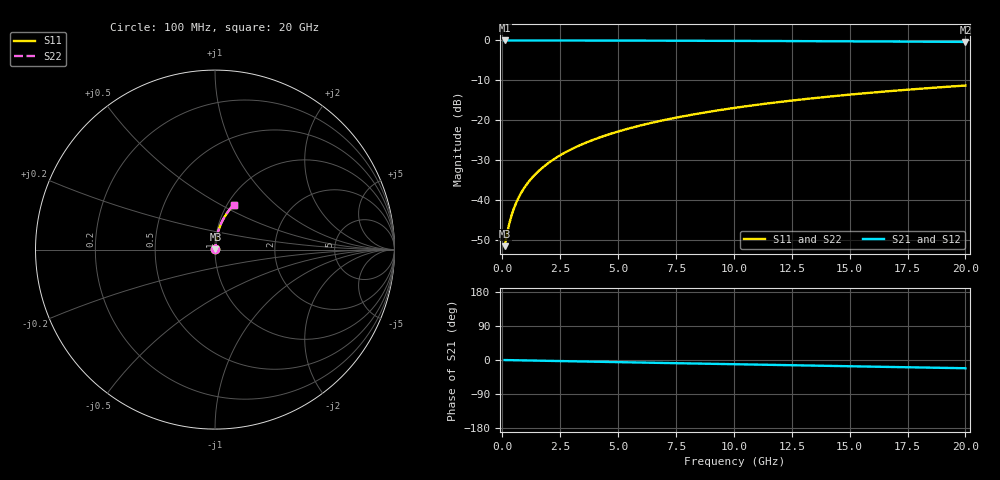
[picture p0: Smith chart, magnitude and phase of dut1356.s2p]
! Touchstone file exported from HFSS 2026.1.0
!  File:  C:/ffzhzh/LocalFiles/Ansys_Project_Files/temp_train_BSMRDL_1356_1783179104_43440.aedt
!  Generated:  11:33:00 PM Jul  4, 2026
!  Design:  BSMRDL
!  Project:  temp_train_BSMRDL_1356_1783179104_43440
! Variables:
!  h_bsmrdl = 2.32um
!  h_ox = 20um
!  h_rdl = 5um
!  h_sub = 80um
!  h_tmrdl = 5um
!  h_tsv = 80um
!  h_via = 3um
!  l_bsmrdl = 218.39um
!  l_sub = 618.39um
!  l_tmrdl = 200um
!  m_sub = 200um
!  pitch = 59.43um
!  r_tsv = 6um
!  s_tmrdl = 10um
!  w_bsmrdl = 17.79um
!  w_sub = 500um
!  w_tmrdl = 12um
!  x_tsv_center1 = 206um
!  x_tsv_center2 = 442.18um
!  x_tsv_center3 = 654.18um
!  x_tsv_center4 = 890.36um
!  x_tsv_center5 = 1102.36um
!  x_tsv_center6 = 1338.54um
# GHz S MA R 50.000000
! Terminal data exported
! Port[1] = BSM_RDL1_1_T1
! Port[2] = BSM_RDL1_1_T2
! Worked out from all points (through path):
!   200 points, 100 MHz to 20 GHz, reference 50 ohm
!   highest |S21| = -0.02 dB at 100 MHz (marker M1); lowest = -0.4 dB at 20 GHz (marker M2)
!   group delay of S21, straight-line fit = 3.02 ps
!   lowest |S11| = -51.5 dB at 100 MHz (marker M3), VSWR 1.01, Z = 50.2 + j0.153 ohm
!   |S11| at or under -10 dB: start of sweep to end of sweep
!   |S22| runs from -51.5 to -11.3 dB; largest |S21 - S12| = 5.6e-15
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0.1  0.002668 34.8  0.9978 -0.1  0.9978 -0.1  0.002668 34.8
! Gamma 0 0 0 0
! Port Impedance 50 0 50 0
0.2  0.003768 53.8  0.9978 -0.2  0.9978 -0.2  0.003768 53.8
0.3  0.005085 63.3  0.9977 -0.3  0.9977 -0.3  0.005085 63.3
0.4  0.006475 68.7  0.9977 -0.5  0.9977 -0.5  0.006475 68.7
0.5  0.007891 72.1  0.9976 -0.6  0.9976 -0.6  0.007891 72.1
0.6  0.009316 74.4  0.9976 -0.7  0.9976 -0.7  0.009316 74.4
0.8  0.01217 77.3  0.9974 -0.9  0.9974 -0.9  0.01217 77.3
1.1  0.01646 79.7  0.9973 -1.3  0.9973 -1.3  0.01646 79.7
1.5  0.02219 81.4  0.9971 -1.7  0.9971 -1.7  0.02219 81.4
1.8  0.02649 82.1  0.997 -2.0  0.997 -2.0  0.02649 82.1
2.1  0.0308 82.5  0.9968 -2.4  0.9968 -2.4  0.0308 82.5
2.7  0.03944 82.9  0.9964 -3.0  0.9964 -3.0  0.03944 82.9
3.5  0.05095 82.8  0.9958 -3.9  0.9958 -3.9  0.05095 82.8
4.2  0.061 82.5  0.9952 -4.7  0.9952 -4.7  0.061 82.5
5  0.07246 82.0  0.9943 -5.6  0.9943 -5.6  0.07246 82.0
5.9  0.0853 81.2  0.9932 -6.6  0.9932 -6.6  0.0853 81.2
6.8  0.09807 80.4  0.9919 -7.6  0.9919 -7.6  0.09807 80.4
8.3  0.1192 79.0  0.9893 -9.3  0.9893 -9.3  0.1192 79.0
10.1  0.1441 77.2  0.9857 -11.3  0.9857 -11.3  0.1441 77.2
13.4  0.1887 73.8  0.9776 -14.8  0.9776 -14.8  0.1887 73.8
16.7  0.2316 70.4  0.9678 -18.3  0.9678 -18.3  0.2316 70.4
20  0.2725 67.1  0.9566 -21.7  0.9566 -21.7  0.2725 67.1
